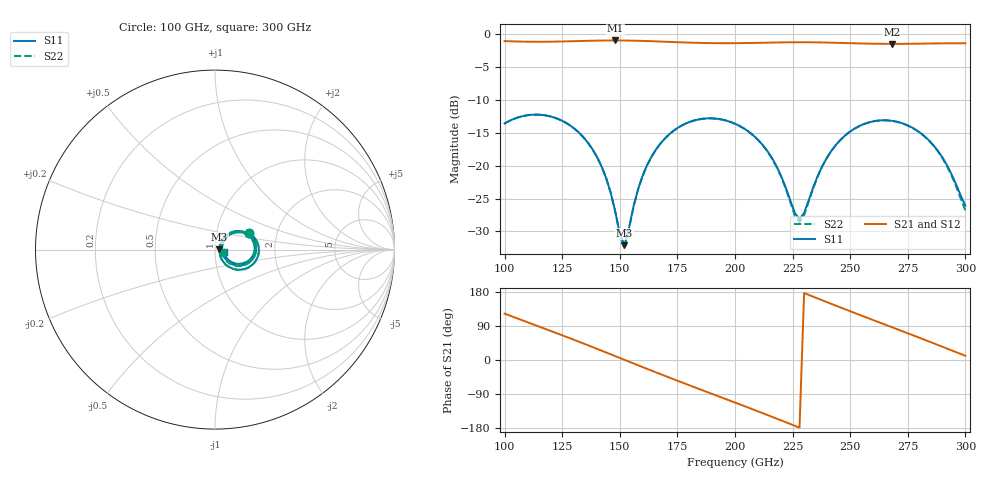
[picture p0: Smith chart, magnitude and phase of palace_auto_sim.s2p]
#  GHZ S DB R 50
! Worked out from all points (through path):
!   101 points, 100 GHz to 300 GHz, reference 50 ohm
!   highest |S21| = -0.95 dB at 148 GHz (marker M1); lowest = -1.5 dB at 268 GHz (marker M2)
!   group delay of S21, straight-line fit = 6.56 ps
!   lowest |S11| = -32.1 dB at 152 GHz (marker M3), VSWR 1.05, Z = 52.5 + j0.209 ohm
!   |S11| at or under -10 dB: start of sweep to end of sweep
!   |S22| runs from -32.2 to -12.2 dB; largest |S21 - S12| = 1e-13
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100  -13.58 26.7  -1.05 122.4  -1.05 122.4  -13.57 26.3
110  -12.32 6.4  -1.14 99.5  -1.14 99.5  -12.31 5.9
118  -12.36 -10.1  -1.15 81.3  -1.15 81.3  -12.36 -10.5
134  -15.59 -42.1  -1.03 44.0  -1.03 44.0  -15.58 -42.7
142  -20.04 -54.4  -0.97 24.8  -0.97 24.8  -20.04 -55.1
148  -26.90 -49.3  -0.95 10.3  -0.95 10.3  -26.93 -50.4
152  -32.07 4.6  -0.96 0.5  -0.96 0.5  -32.23 3.9
160  -21.43 53.2  -1.02 -18.9  -1.02 -18.9  -21.45 52.8
168  -16.47 42.9  -1.12 -38.1  -1.12 -38.1  -16.48 42.4
184  -12.97 12.6  -1.32 -75.5  -1.32 -75.5  -12.98 11.8
200  -13.60 -17.8  -1.36 -112.3  -1.36 -112.3  -13.62 -18.8
214  -17.74 -39.7  -1.29 -145.0  -1.29 -145.0  -17.79 -41.2
228  -28.11 2.3  -1.23 -178.5  -1.23 -178.5  -28.55 1.8
234  -23.24 44.0  -1.24 166.9  -1.24 166.9  -23.36 44.5
240  -18.72 45.6  -1.27 152.5  -1.27 152.5  -18.75 45.6
248  -15.34 34.7  -1.35 133.4  -1.35 133.4  -15.35 34.2
258  -13.42 16.5  -1.43 110.0  -1.43 110.0  -13.43 15.7
268  -13.17 -2.5  -1.47 86.8  -1.47 86.8  -13.18 -3.7
276  -14.04 -17.3  -1.45 68.1  -1.45 68.1  -14.06 -18.8
286  -16.83 -33.0  -1.41 44.6  -1.41 44.6  -16.89 -35.2
292  -19.92 -37.5  -1.39 30.3  -1.39 30.3  -20.05 -40.5
300  -26.09 -15.0  -1.38 11.1  -1.38 11.1  -26.81 -18.3
